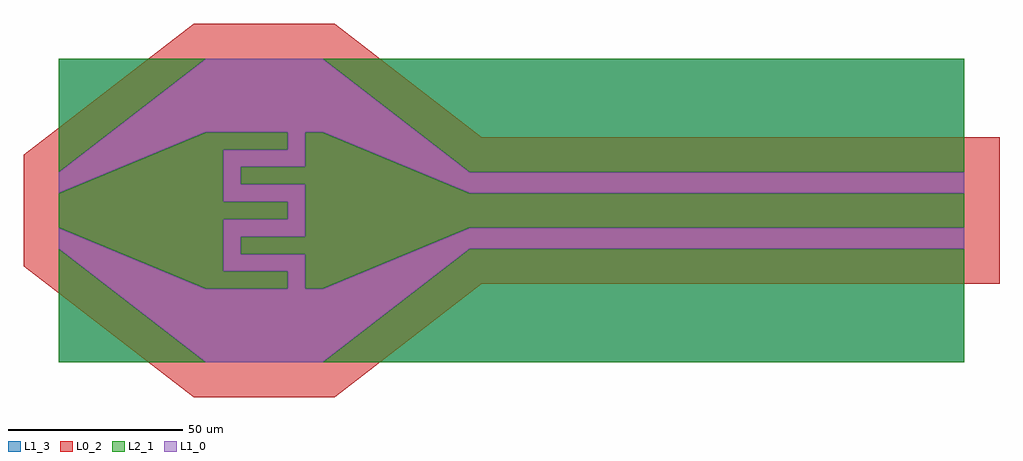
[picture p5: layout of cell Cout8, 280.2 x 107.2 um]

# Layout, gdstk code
import gdstk
lib = gdstk.Library(unit=1e-6, precision=1e-09)
def R(c, l, rs):  # rectangles x0, y0, x1, y1
    for r in rs: c.add(gdstk.rectangle(r[:2], r[2:], *l))
def P(c, l, *ps):  # polygons
    for p in ps: c.add(gdstk.Polygon(p, *l))
L0_2 = (0, 2)
L1_0 = (1, 0)
L1_3 = (1, 3)
L2_1 = (2, 1)

cout8 = lib.new_cell('Cout8')
P(cout8, L0_2, [(-91.198,-53.6),(-140.1,-15.972),(-140.1,15.972),(-91.198,53.6),(-50.736,53.6),(-8.498,21.1),(140.1,21.1),(140.1,-21.1),(-8.498,-21.1),(-50.736,-53.6)])
P(cout8, L1_0, [(-87.762,-43.5),(-130,-11),(-130,-5),(-87.717,-22.5),(-64.217,-22.5),(-64.217,-17.5),(-82.717,-17.5),(-82.717,-2.5),(-64.217,-2.5),(-64.217,2.5),(-82.717,2.5),(-82.717,17.5),(-64.217,17.5),(-64.217,22.5),(-87.717,22.5),(-130,5),(-130,11),(-87.762,43.5),(-54.172,43.5),(-11.934,11),(130,11),(130,5),(-11.934,5),(-54.217,22.5),(-59.217,22.5),(-59.217,12.5),(-77.717,12.5),(-77.717,7.5),(-59.217,7.5),(-59.217,-7.5),(-77.717,-7.5),(-77.717,-12.5),(-59.217,-12.5),(-59.217,-22.5),(-54.217,-22.5),(-11.934,-5),(130,-5),(130,-11),(-11.934,-11),(-54.172,-43.5)])
R(cout8, L1_3, [(-130,-43.5,130,43.5)])
P(cout8, L2_1, [(-130,11),(-130,43.5),(-87.762,43.5)],
  [(-130,-43.5),(-130,-11),(-87.762,-43.5)],
  [(-87.717,-22.5),(-130,-5),(-130,5),(-87.717,22.5),(-64.217,22.5),(-64.217,17.5),(-82.717,17.5),(-82.717,2.5),(-64.217,2.5),(-64.217,-2.5),(-82.717,-2.5),(-82.717,-17.5),(-64.217,-17.5),(-64.217,-22.5)],
  [(-59.217,-22.5),(-59.217,-12.5),(-77.717,-12.5),(-77.717,-7.5),(-59.217,-7.5),(-59.217,7.5),(-77.717,7.5),(-77.717,12.5),(-59.217,12.5),(-59.217,22.5),(-54.217,22.5),(-11.934,5),(130,5),(130,-5),(-11.934,-5),(-54.217,-22.5)],
  [(-54.172,-43.5),(-11.934,-11),(130,-11),(130,-43.5)],
  [(-11.934,11),(-54.172,43.5),(130,43.5),(130,11)])

lib.write_gds('Cout8.gds')
